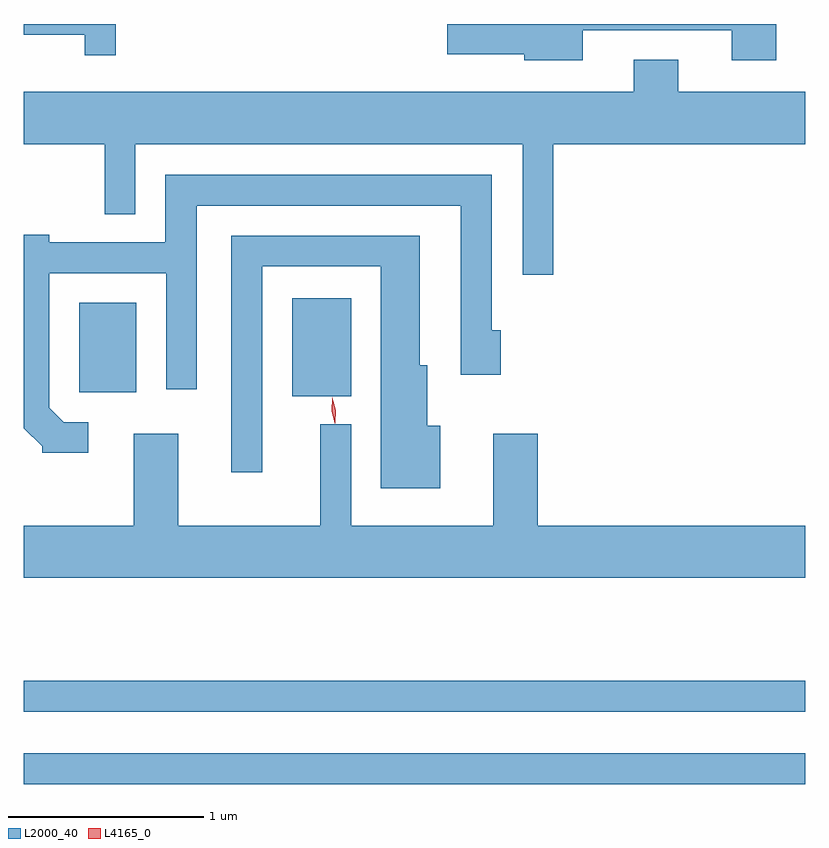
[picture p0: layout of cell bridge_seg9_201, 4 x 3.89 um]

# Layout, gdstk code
import gdstk
lib = gdstk.Library(unit=1e-6, precision=1e-09)
def R(c, l, rs):  # rectangles x0, y0, x1, y1
    for r in rs: c.add(gdstk.rectangle(r[:2], r[2:], *l))
def P(c, l, *ps):  # polygons
    for p in ps: c.add(gdstk.Polygon(p, *l))
L2000_40 = (2000, 40)
L4165_0 = (4165, 0)

bridge_seg9_201 = lib.new_cell('bridge_seg9_201')
R(bridge_seg9_201, L2000_40, [(1125.888,1950.801,1129.888,1950.959), (1125.888,1951.171,1129.888,1951.329), (1127.261,1952.786,1127.564,1953.289), (1126.171,1952.806,1126.464,1953.264)])
P(bridge_seg9_201, L2000_40, [(1126.359,1954.692),(1125.888,1954.692),(1125.888,1954.636),(1126.201,1954.636),(1126.201,1954.533),(1126.359,1954.533)],
  [(1128.749,1954.661),(1129.511,1954.661),(1129.511,1954.506),(1129.739,1954.506),(1129.739,1954.692),(1128.056,1954.692),(1128.056,1954.536),(1128.451,1954.536),(1128.451,1954.506),(1128.749,1954.506)],
  [(1128.599,1954.076),(1129.888,1954.076),(1129.888,1954.344),(1129.239,1954.344),(1129.239,1954.509),(1129.011,1954.509),(1129.011,1954.344),(1125.888,1954.344),(1125.888,1954.076),(1126.301,1954.076),(1126.301,1953.718),(1126.459,1953.718),(1126.459,1954.076),(1128.441,1954.076),(1128.441,1953.408),(1128.599,1953.408)],
  [(1126.218,1952.654),(1126.092,1952.654),(1126.019,1952.727),(1126.019,1953.416),(1126.616,1953.416),(1126.616,1952.823),(1126.774,1952.823),(1126.774,1953.761),(1128.126,1953.761),(1128.126,1952.896),(1128.329,1952.896),(1128.329,1953.124),(1128.284,1953.124),(1128.284,1953.919),(1126.611,1953.919),(1126.611,1953.574),(1126.019,1953.574),(1126.019,1953.614),(1125.888,1953.614),(1125.888,1952.622),(1125.981,1952.529),(1125.981,1952.496),(1126.218,1952.496)],
  [(1128.019,1952.634),(1127.954,1952.634),(1127.954,1952.944),(1127.914,1952.944),(1127.914,1953.609),(1126.951,1953.609),(1126.951,1952.398),(1127.109,1952.398),(1127.109,1953.451),(1127.716,1953.451),(1127.716,1952.316),(1128.019,1952.316)],
  [(1129.888,1952.124),(1128.519,1952.124),(1128.519,1952.594),(1128.291,1952.594),(1128.291,1952.124),(1127.564,1952.124),(1127.564,1952.643),(1127.406,1952.643),(1127.406,1952.124),(1126.679,1952.124),(1126.679,1952.594),(1126.451,1952.594),(1126.451,1952.124),(1125.888,1952.124),(1125.888,1951.856),(1129.888,1951.856)])
P(bridge_seg9_201, L4165_0, [(1127.48,1952.648),(1127.48,1952.648),(1127.464,1952.713),(1127.467,1952.779),(1127.467,1952.78),(1127.468,1952.779),(1127.484,1952.715),(1127.481,1952.648)])

lib.write_gds('bridge_seg9_201.gds')
